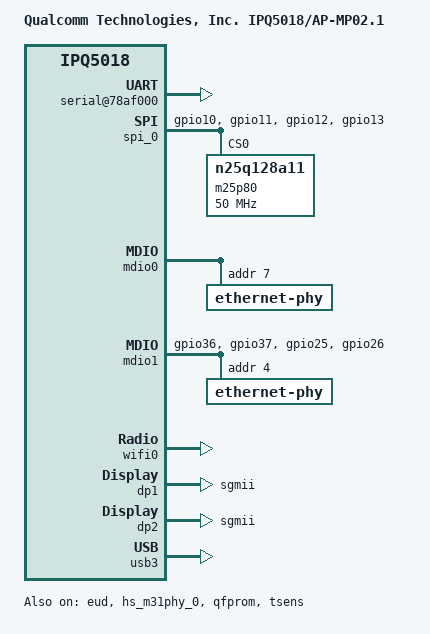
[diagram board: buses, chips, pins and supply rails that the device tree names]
/dts-v1/;
/* Copyright (c) 2018-2020, The Linux Foundation. All rights reserved.
 *
 * Permission to use, copy, modify, and/or distribute this software for any
 * purpose with or without fee is hereby granted, provided that the above
 * copyright notice and this permission notice appear in all copies.
 *
 * THE SOFTWARE IS PROVIDED "AS IS" AND THE AUTHOR DISCLAIMS ALL WARRANTIES
 * WITH REGARD TO THIS SOFTWARE INCLUDING ALL IMPLIED WARRANTIES OF
 * MERCHANTABILITY AND FITNESS. IN NO EVENT SHALL THE AUTHOR BE LIABLE FOR
 * ANY SPECIAL, DIRECT, INDIRECT, OR CONSEQUENTIAL DAMAGES OR ANY DAMAGES
 * WHATSOEVER RESULTING FROM LOSS OF USE, DATA OR PROFITS, WHETHER IN AN
 * ACTION OF CONTRACT, NEGLIGENCE OR OTHER TORTIOUS ACTION, ARISING OUT OF
 * OR IN CONNECTION WITH THE USE OR PERFORMANCE OF THIS SOFTWARE.
 */

#include "qcom-ipq5018.dtsi"

/ {
	#address-cells = <0x2>;
	#size-cells = <0x2>;
	model = "Qualcomm Technologies, Inc. IPQ5018/AP-MP02.1";
	compatible = "qcom,ipq5018-mp02.1", "qcom,ipq5018";
	interrupt-parent = <&intc>;

	MP_256;
	/delete-property/ MP_512;

	aliases {
		sdhc1 = &sdhc_1; /* SDC1 eMMC slot */
		serial0 = &blsp1_uart1;
		serial1 = &blsp1_uart2;
		ethernet0 = "/soc/dp1";
		ethernet1 = "/soc/dp2";
	};

	chosen {
		bootargs = "console=ttyMSM0,115200,n8 rw init=/init";
	#ifdef __IPQ_MEM_PROFILE_256_MB__
		bootargs-append = " swiotlb=1";
	#else
		bootargs-append = " swiotlb=1 coherent_pool=2M";
	#endif
		stdout-path = "serial0";
	};

	/*            256 MB Profile
	 * +=========+==============+========================+
	 * |        |              |                         |
	 * | Region | Start Offset |          Size           |
	 * |        |              |                         |
	 * +--------+--------------+-------------------------+
	 * |        |              |                         |
	 * |        |              |                         |
	 * |  NSS   |  0x40000000  |          8MB           |
	 * |        |              |                         |
	 * |        |              |                         |
	 * +--------+--------------+-------------------------+
	 * |        |              |                         |
	 * |        |              |                         |
	 * |        |              |                         |
	 * |        |              |                         |
	 * | Linux  |  0x40800000  | Depends on total memory |
	 * |        |              |                         |
	 * |        |              |                         |
	 * |        |              |                         |
	 * +        |              |                         |
	 * +--------+--------------+-------------------------+
	 * |        |              |                         |
	 * | uboot  |  0x4A600000  |           4MB           |
	 * |        |              |                         |
	 * +--------+--------------+-------------------------+
	 * |  SBL   |  0x4AA00000  |           1MB           |
	 * +--------+--------------+-------------------------+
	 * |  smem  |  0x4AB00000  |           1MB           |
	 * +--------+--------------+-------------------------+
	 * |        |              |                         |
	 * |   TZ   |  0x4AC00000  |           4MB           |
	 * |        |              |                         |
	 * +--------+--------------+-------------------------+
	 * |        |              |                         |
	 * |        |              |                         |
	 * |        |              |                         |
	 * |   Q6   |  0x4B000000  |          24MB           |
	 * |        |              |                         |
	 * |        |              |                         |
	 * |        |              |                         |
	 * +--------+--------------+-------------------------+
	 * | M3 Dump| 0x4C800000   |          1MB            |
	 * +--------+--------------+-------------------------+
	 * | QDSS   | 0x4C900000   |          1MB            |
	 * +--------+--------------+-------------------------+
	 * |                                                 |
	 * |      Rest of the memory for Linux               |
	 * |                                                 |
	 * +=================================================+
	 */
	reserved-memory {
		/delete-node/ q6_caldb_region@4cd00000;
		/delete-node/ nss@40000000;

		nss@40000000 {
			no-map;
			reg = <0x0 0x40000000 0x0 0x0800000>;
		};
	};

	soc {
		serial@78af000 {
			status = "ok";
		};

		blsp1_uart2: serial@78b0000 {
			pinctrl-0 = <&blsp1_uart_pins>;
			pinctrl-names = "default";
		};

		qpic_bam: dma@7984000{
			status = "disabled";
		};

		nand: qpic-nand@79b0000 {
			status = "disabled";
		};

		spi_0: spi@78b5000 { /* BLSP1 QUP0 */
			pinctrl-0 = <&blsp0_spi_pins>;
			pinctrl-names = "default";
			cs-select = <0>;
			status = "ok";

			m25p80@0 {
				#address-cells = <1>;
				#size-cells = <1>;
				reg = <0>;
				compatible = "n25q128a11";
				linux,modalias = "m25p80", "n25q128a11";
				spi-max-frequency = <50000000>;
				use-default-sizes;
			};
		};

		mdio0: mdio@88000 {
			status = "ok";

			ethernet-phy@0 {
				reg = <7>;
			};
		};

		mdio1: mdio@90000 {
			status = "ok";
			pinctrl-0 = <&mdio1_pins &phy_pins>;
			pinctrl-names = "default";
			phy-reset-gpio = <&tlmm 26 0>;

			ethernet-phy@0 {
				reg = <4>;
			};
		};

		ess-instance {
			num_devices = <0x1>;
			ess-switch@0x39c00000 {
				switch_mac_mode = <0xf>; /* mac mode for uniphy instance*/
				cmnblk_clk = "internal_96MHz"; /* cmnblk clk*/
				qcom,port_phyinfo {
					port@0 {
						port_id = <1>;
						phy_address = <7>;
						mdiobus = <&mdio0>;
					};
					port@1 {
						port_id = <2>;
						phy_address = <0x4>;
						mdiobus = <&mdio1>;
					};
				};
				led_source@0 {
					source = <0>;
					mode = "normal";
					speed = "all";
					blink_en = "enable";
					active = "low";
				};
			};
		};

		qcom_q6v5_wcss@CD00000 {
			memory-region = <&q6_region>, <&q6_etr_region>;
		};

		wifi0: wifi@c000000 {
			qcom,tgt-mem-mode = <2>;
			status = "ok";
		};

		dp1 {
			device_type = "network";
			compatible = "qcom,nss-dp";
			clocks = <&gcc GCC_SNOC_GMAC0_AXI_CLK>;
			clock-names = "nss-snoc-gmac-axi-clk";
			qcom,id = <1>;
			reg = <0x39C00000 0x10000>;
			interrupts = <GIC_SPI 101 IRQ_TYPE_LEVEL_HIGH>;
			qcom,mactype = <2>;
			qcom,link-poll = <1>;
			qcom,phy-mdio-addr = <7>;
			mdio-bus = <&mdio0>;
			local-mac-address = [000000000000];
			phy-mode = "sgmii";
		};

		dp2 {
			device_type = "network";
			compatible = "qcom,nss-dp";
			clocks = <&gcc GCC_SNOC_GMAC1_AXI_CLK>;
			clock-names = "nss-snoc-gmac-axi-clk";
			qcom,id = <2>;
			reg = <0x39D00000 0x10000>;
			interrupts = <GIC_SPI 109 IRQ_TYPE_LEVEL_HIGH>;
			qcom,mactype = <2>;
			qcom,link-poll = <1>;
			qcom,phy-mdio-addr = <4>;
			mdio-bus = <&mdio1>;
			local-mac-address = [000000000000];
			phy-mode = "sgmii";
		};

		qcom,test@0 {
			status = "ok";
		};
	};

	thermal-zones {
		status = "ok";
	};
};

&sdhc_1 {
	status = "disabled";
};

&tlmm {
	pinctrl-0 = <&blsp0_uart_pins &phy_led_pins>;
	pinctrl-names = "default";

	blsp0_uart_pins: blsp0_uart_pins {
		blsp0_uart_rx {
			pins = "gpio28";
			function = "blsp0_uart1";
			drive-strength = <8>;
			input-enable;
			bias-disable;
			bias-pull-up;
		};
		blsp0_uart_tx {
			pins = "gpio29";
			function = "blsp0_uart1";
			drive-strength = <8>;
			bias-disable;
			output-high;
			bias-pull-up;
		};
	};

	blsp1_uart_pins: blsp1_uart_pins {
		blsp1_uart_rx {
			pins = "gpio23";
			function = "blsp1_uart2";
			drive-strength = <8>;
			input-enable;
			bias-disable;
			bias-pull-up;
		};
		blsp1_uart_tx {
			pins = "gpio25";
			function = "blsp1_uart2";
			drive-strength = <8>;
			bias-disable;
			output-high;
			bias-pull-up;
		};
	};

	blsp0_spi_pins: blsp0_spi_pins {
		mux {
			pins = "gpio10", "gpio11", "gpio12", "gpio13";
			function = "blsp0_spi";
			drive-strength = <8>;
			bias-disable;
		};
	};

	phy_pins: phy_pins {
		phy_intr {
			pins = "gpio25";
			function = "gpio";
			drive-strength = <8>;
			bias-disable;
		};
		phy_reset {
			pins = "gpio26";
			function = "gpio";
			drive-strength = <8>;
			bias-pull-down;
			output-low;
		};
	};

	mdio1_pins: mdio_pinmux {
		mux_0 {
			pins = "gpio36";
			function = "mdc";
			drive-strength = <8>;
			bias-pull-up;
		};

		mux_1 {
			pins = "gpio37";
			function = "mdio";
			drive-strength = <8>;
			bias-pull-up;
		};
	};

	phy_led_pins: phy_led_pins {
		gephy_led_pin {
			pins = "gpio30";
			function = "led0";
			drive-strength = <8>;
			bias-pull-down;
		};
	};

	btss_pins: btss_pins {

		phandle = <0x1>;

		mux_0 {
			pins = "gpio4";
			function = "btss0";
			bias-pull-down;
		};

		mux_1 {
			pins = "gpio5";
			function = "btss1";
			bias-pull-down;
		};

		mux_2 {
			pins = "gpio6";
			function = "btss2";
			bias-pull-down;
		};

		mux_3 {
			pins = "gpio7";
			function = "btss3";
			bias-pull-down;
		};
	};
};

&usb3 {
	status = "ok";
};

&eud {
	status = "ok";
};

&pcie_x1 {
	status = "disabled";
	perst-gpio = <&tlmm 27 1>;
};

&pcie_x2 {
	status = "disabled";
	perst-gpio = <&tlmm 15 1>;
};

&dwc_0 {
	/delete-property/ #phy-cells;
	/delete-property/ phys;
	/delete-property/ phy-names;
};

&hs_m31phy_0 {
	status = "ok";
};

&pcie_x1phy {
	status = "disabled";
};

&pcie_x2phy {
	status = "disabled";
};

&pcie_x1_rp {
	status = "disabled";

	mhi_0: qcom,mhi@0 {
		reg = <0 0 0 0 0 >;
	};
};

&pcie_x2_rp {
	status = "disabled";

	mhi_1: qcom,mhi@1 {
		reg = <0 0 0 0 0 >;
	};
};

&qfprom {
	status = "ok";
};

&tsens {
	status = "ok";
};

&qcom_q6v5_wcss {
	/*Maple internal radio*/
	q6v5_wcss_userpd1 {
		interrupts-extended = <&wcss_smp2p_in 8 0>,
			<&wcss_smp2p_in 9 0>,
			<&wcss_smp2p_in 12 0>,
			<&wcss_smp2p_in 11 0>;
		interrupt-names ="fatal",
			"ready",
			"spawn_ack",
			"stop-ack";
		qcom,smem-states = <&wcss_smp2p_out 8>,
			<&wcss_smp2p_out 9>,
			<&wcss_smp2p_out 10>;
		qcom,smem-state-names = "shutdown",
			"stop",
			"spawn";
		qca,asid = <1>;
		qca,auto-restart;
		qca,int_radio;
	};

	/*1st spruce radio*/
	q6v5_wcss_userpd2 {
		interrupts-extended = <&wcss_smp2p_in 16 0>,
			<&wcss_smp2p_in 17 0>,
			<&wcss_smp2p_in 20 0>,
			<&wcss_smp2p_in 19 0>;
		interrupt-names ="fatal",
			"ready",
			"spawn_ack",
			"stop-ack";
		qcom,smem-states = <&wcss_smp2p_out 16>,
			<&wcss_smp2p_out 17>,
			<&wcss_smp2p_out 18>;
		qcom,smem-state-names = "shutdown",
			"stop",
			"spawn";
		qca,asid = <2>;
		qca,auto-restart;
	};

	/*2nd spruce radio*/
	q6v5_wcss_userpd3 {
		interrupts-extended = <&wcss_smp2p_in 24 0>,
			<&wcss_smp2p_in 25 0>,
			<&wcss_smp2p_in 28 0>,
			<&wcss_smp2p_in 27 0>;
		interrupt-names ="fatal",
			"ready",
			"spawn_ack",
			"stop-ack";
		qcom,smem-states = <&wcss_smp2p_out 24>,
			<&wcss_smp2p_out 25>,
			<&wcss_smp2p_out 26>;
		qcom,smem-state-names = "shutdown",
			"stop",
			"spawn";
		qca,asid = <3>;
		qca,auto-restart;
	};
};

&qgic_msi_0 {
	status = "ok";
};

&qgic_msi_1 {
	status = "ok";
};
